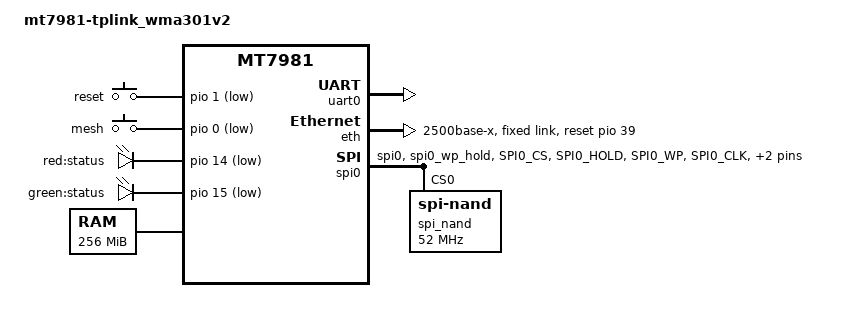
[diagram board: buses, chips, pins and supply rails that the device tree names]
// SPDX-License-Identifier: GPL-2.0-or-later OR MIT

/dts-v1/;
#include "mt7981.dtsi"
#include <dt-bindings/gpio/gpio.h>

/ {
	#address-cells = <1>;
	#size-cells = <1>;
	model = "mt7981-tplink_wma301v2";
	compatible = "mediatek,mt7981", "mediatek,mt7981-rfb";

	chosen {
		stdout-path = &uart0;
		tick-timer = &timer0;
	};

	config {
		bootcmd = "mtkboardboot";
		blink_led = "red:status";
		system_led = "green:status";
	};

	mtd-layout {
		layout@0 {
			label = "default";
			// mtd layout immortalwrt/openwrt 114M ubi firmware
			mtdids = "nmbm0=nmbm0";
			mtdparts = "nmbm0:1024k(bl2),512k(u-boot-env),1024k(art),1024k(Factory),2048k(fip),116736k(ubi)";
		};

		layout@1 {
			label = "stock";
			// mtd layout for stock layout firmware
			mtdids = "nmbm0=nmbm0";
			mtdparts = "nmbm0:1024k(bl2),512k(u-boot-env),1024k(art),1024k(Factory),2048k(fip),65536k(ubi)";
		};

		layout@2 {
			label = "256m";
			// mtd layout for 256m nand firmware
			mtdids = "nmbm0=nmbm0";
			mtdparts = "nmbm0:1024k(bl2),512k(u-boot-env),1024k(art),1024k(Factory),2048k(fip),235520k(ubi)";
		};
	};

	gpio-keys {
		compatible = "gpio-keys";

		button-reset {
			label = "reset";
			linux,code = <KEY_RESTART>;
			gpios = <&pio 1 GPIO_ACTIVE_LOW>;
		};

		button-mesh {
			label = "mesh";
			linux,code = <BTN_9>;
			gpios = <&pio 0 GPIO_ACTIVE_LOW>;
		};
	};

	leds {
		compatible = "gpio-leds";

		status_red_led: led-0 {
			label = "red:status";
			gpios = <&pio 14 GPIO_ACTIVE_LOW>;
		};

		status_green_led: led-1 {
			label = "green:status";
			gpios = <&pio 15 GPIO_ACTIVE_LOW>;
		};
	};

	memory@40000000 {
		device_type = "memory";
		reg = <0x40000000 0x10000000>;
	};

	bl2_verify {
		bl2_compatible = "spim-nand";
	};
};

&uart0 {
	status = "okay";
};

&eth {
	status = "okay";
	mediatek,gmac-id = <0>;
	phy-mode = "2500base-x";
	mediatek,switch = "auto";
	reset-gpios = <&pio 39 GPIO_ACTIVE_HIGH>;

	fixed-link {
		speed = <2500>;
		full-duplex;
	};
};

&pio {
	spi_flash_pins: spi0-pins-func-1 {
		mux {
			function = "flash";
			groups = "spi0", "spi0_wp_hold";
		};

		conf-pu {
			pins = "SPI0_CS", "SPI0_HOLD", "SPI0_WP";
			drive-strength = <MTK_DRIVE_4mA>;
			bias-pull-up = <MTK_PUPD_SET_R1R0_11>;
		};

		conf-pd {
			pins = "SPI0_CLK", "SPI0_MOSI", "SPI0_MISO";
			drive-strength = <MTK_DRIVE_4mA>;
			bias-pull-down = <MTK_PUPD_SET_R1R0_11>;
		};
	};
};

&spi0 {
	#address-cells = <1>;
	#size-cells = <0>;
	pinctrl-names = "default";
	pinctrl-0 = <&spi_flash_pins>;
	status = "okay";
	must_tx;
	enhance_timing;
	dma_ext;
	ipm_design;
	support_quad;
	tick_dly = <2>;
	sample_sel = <0>;

	spi_nand@0 {
		compatible = "spi-nand";
		reg = <0>;
		spi-max-frequency = <52000000>;
	};
};

&uart0 {
	status = "okay";
};

&watchdog {
	status = "disabled";
};
